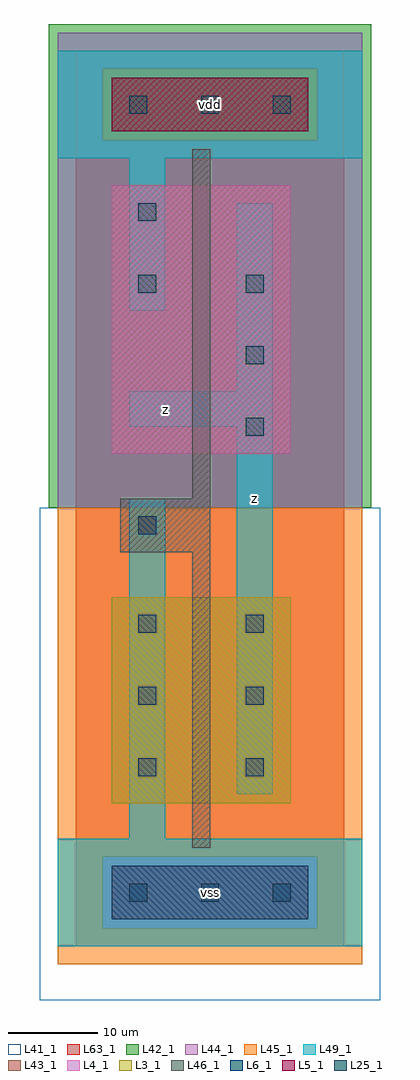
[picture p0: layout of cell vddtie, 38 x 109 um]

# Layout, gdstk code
import gdstk
lib = gdstk.Library(unit=1e-6, precision=1e-09)
def R(c, l, rs):  # rectangles x0, y0, x1, y1
    for r in rs: c.add(gdstk.rectangle(r[:2], r[2:], *l))
def A(c, l, x, y, w, h, nx, ny, dx, dy):  # array of equal rectangles
    R(c, l, [(x+i*dx, y+j*dy, x+i*dx+w, y+j*dy+h) for i in range(nx) for j in range(ny)])
L3_1 = (3, 1)
L4_1 = (4, 1)
L5_1 = (5, 1)
L6_1 = (6, 1)
L25_1 = (25, 1)
L41_1 = (41, 1)
L42_1 = (42, 1)
L43_1 = (43, 1)
L44_1 = (44, 1)
L45_1 = (45, 1)
L46_1 = (46, 1)
L49_1 = (49, 1)
L63_1 = (63, 1)

vddtie = lib.new_cell('vddtie')
R(vddtie, L3_1, [(4,16,24,39)])
R(vddtie, L4_1, [(4,55,24,85)])
R(vddtie, L5_1, [(4,91,26,97)])
R(vddtie, L6_1, [(4,3,26,9)])
A(vddtie, L25_1, 6, 5, 2, 2, 3, 2, 8, 88)
A(vddtie, L25_1, 7, 19, 2, 2, 1, 3, 0, 8)
A(vddtie, L25_1, 19, 19, 2, 2, 1, 3, 0, 8)
A(vddtie, L25_1, 19, 57, 2, 2, 1, 3, 0, 8)
R(vddtie, L25_1, [(7,46,9,48), (7,73,9,75), (7,81,9,83)])
R(vddtie, L41_1, [(-4,-6,34,49), (-3,-3,33,49)])
R(vddtie, L42_1, [(-3,49,33,103)])
R(vddtie, L43_1, [(4,3,26,9), (4,16,24,39), (4,55,24,85), (4,91,26,97)])
R(vddtie, L44_1, [(3,2,27,10), (-2,49,32,90), (-2,90,3,98), (27,90,32,98), (-2,98,32,102)])
R(vddtie, L45_1, [(-2,-2,32,2), (-2,2,3,10), (27,2,32,10), (-2,10,32,49), (3,90,27,98)])
R(vddtie, L46_1, [(13,11,15,44), (5,44,15,50), (13,50,15,89)])
R(vddtie, L49_1, [(-2,0,32,12), (6,12,10,50), (18,17,22,58), (6,58,22,62), (18,62,22,83), (6,71,10,88), (-2,88,32,100)])
R(vddtie, L63_1, [(0,0,30,100)])
vddtie.add(gdstk.Label('z', (10,60), layer=49, texttype=1))
vddtie.add(gdstk.Label('z', (10,60), layer=49, texttype=1))
vddtie.add(gdstk.Label('vss', (15,6), layer=49, texttype=1))
vddtie.add(gdstk.Label('vss', (15,6), layer=49, texttype=1))
vddtie.add(gdstk.Label('z', (20,50), layer=49, texttype=1))
vddtie.add(gdstk.Label('z', (20,50), layer=49, texttype=1))
vddtie.add(gdstk.Label('vdd', (15,94), layer=49, texttype=1))
vddtie.add(gdstk.Label('vdd', (15,94), layer=49, texttype=1))

lib.write_gds('vddtie.gds')
